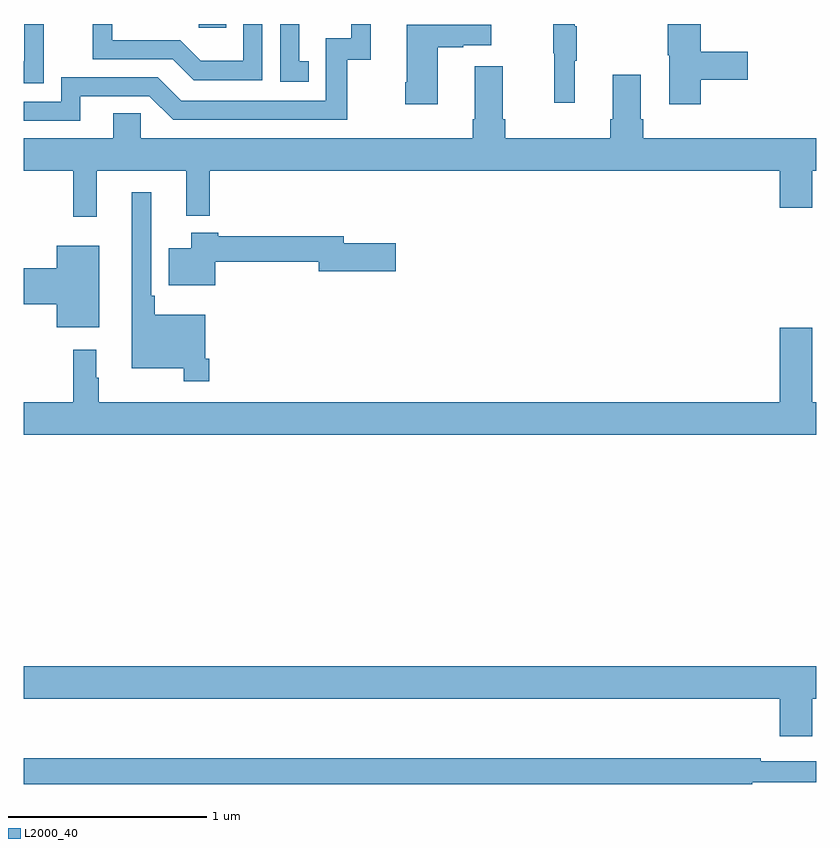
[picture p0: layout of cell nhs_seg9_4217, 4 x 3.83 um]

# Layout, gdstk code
import gdstk
lib = gdstk.Library(unit=1e-6, precision=1e-09)
def R(c, l, rs):  # rectangles x0, y0, x1, y1
    for r in rs: c.add(gdstk.rectangle(r[:2], r[2:], *l))
def P(c, l, *ps):  # polygons
    for p in ps: c.add(gdstk.Polygon(p, *l))
L2000_40 = (2000, 40)

nhs_seg9_4217 = lib.new_cell('nhs_seg9_4217')
R(nhs_seg9_4217, L2000_40, [(353.883,1190.481,354.023,1190.5)])
P(nhs_seg9_4217, L2000_40, [(353.287,1190.136),(353.634,1190.136),(353.754,1190.016),(354.634,1190.016),(354.634,1190.319),(354.752,1190.319),(354.752,1190.5),(354.654,1190.5),(354.654,1190.427),(354.525,1190.427),(354.525,1190.112),(353.796,1190.112),(353.676,1190.232),(353.19,1190.232),(353.19,1190.109),(353,1190.109),(353,1190.013),(353.287,1190.013)],
  [(354.204,1190.5),(354.108,1190.5),(354.108,1190.314),(353.894,1190.314),(353.79,1190.418),(353.448,1190.418),(353.448,1190.5),(353.35,1190.5),(353.35,1190.322),(353.753,1190.322),(353.858,1190.217),(354.204,1190.217)],
  [(355.781,1190.315),(355.792,1190.315),(355.792,1190.489),(355.781,1190.489),(355.781,1190.5),(355.671,1190.5),(355.671,1190.352),(355.678,1190.352),(355.678,1190.103),(355.781,1190.103)],
  [(356.417,1190.218),(356.653,1190.218),(356.653,1190.36),(356.417,1190.36),(356.417,1190.5),(356.251,1190.5),(356.251,1190.343),(356.258,1190.343),(356.258,1190.094),(356.417,1190.094)],
  [(353.103,1190.407),(353.102,1190.407),(353.102,1190.5),(353.003,1190.5),(353.003,1190.311),(353,1190.311),(353,1190.201),(353.103,1190.201)],
  [(354.44,1190.313),(354.391,1190.313),(354.391,1190.5),(354.294,1190.5),(354.294,1190.208),(354.44,1190.208)],
  [(355.09,1190.383),(355.217,1190.383),(355.217,1190.393),(355.36,1190.393),(355.36,1190.497),(354.932,1190.497),(354.932,1190.206),(354.925,1190.206),(354.925,1190.094),(355.09,1190.094)],
  [(353.369,1189.76),(353.822,1189.76),(353.822,1189.532),(353.939,1189.532),(353.939,1189.76),(356.816,1189.76),(356.816,1189.572),(356.98,1189.572),(356.98,1189.76),(357,1189.76),(357,1189.924),(356.126,1189.924),(356.126,1190.02),(356.113,1190.02),(356.113,1190.245),(355.973,1190.245),(355.973,1190.02),(355.961,1190.02),(355.961,1189.924),(355.43,1189.924),(355.43,1190.02),(355.417,1190.02),(355.417,1190.287),(355.277,1190.287),(355.277,1190.02),(355.265,1190.02),(355.265,1189.924),(353.592,1189.924),(353.592,1190.051),(353.453,1190.051),(353.453,1189.924),(353,1189.924),(353,1189.76),(353.251,1189.76),(353.251,1189.527),(353.369,1189.527)],
  [(353.936,1188.811),(353.916,1188.811),(353.916,1189.033),(353.663,1189.033),(353.663,1189.129),(353.643,1189.129),(353.643,1189.651),(353.546,1189.651),(353.546,1188.764),(353.808,1188.764),(353.808,1188.699),(353.936,1188.699)],
  [(353.968,1189.3),(354.488,1189.3),(354.488,1189.253),(354.877,1189.253),(354.877,1189.395),(354.616,1189.395),(354.616,1189.429),(353.981,1189.429),(353.981,1189.447),(353.846,1189.447),(353.846,1189.369),(353.732,1189.369),(353.732,1189.181),(353.968,1189.181)],
  [(353.383,1189.381),(353.168,1189.381),(353.168,1189.268),(353,1189.268),(353,1189.085),(353.168,1189.085),(353.168,1188.971),(353.383,1188.971)],
  [(357,1188.592),(356.98,1188.592),(356.98,1188.967),(356.816,1188.967),(356.816,1188.592),(353.38,1188.592),(353.38,1188.716),(353.368,1188.716),(353.368,1188.856),(353.251,1188.856),(353.251,1188.592),(353,1188.592),(353,1188.428),(357,1188.428)],
  [(356.98,1187.096),(357,1187.096),(357,1187.26),(353,1187.26),(353,1187.096),(356.816,1187.096),(356.816,1186.908),(356.98,1186.908)],
  [(356.676,1186.674),(357,1186.674),(357,1186.782),(356.72,1186.782),(356.72,1186.795),(353,1186.795),(353,1186.666),(356.676,1186.666)])

lib.write_gds('nhs_seg9_4217.gds')
